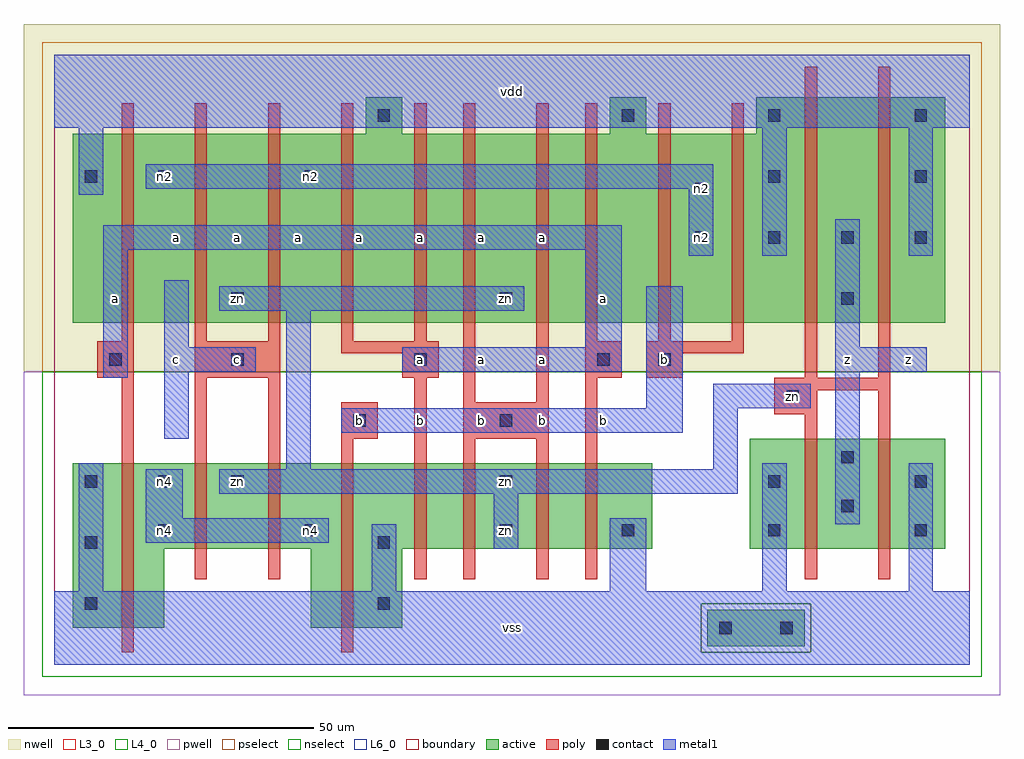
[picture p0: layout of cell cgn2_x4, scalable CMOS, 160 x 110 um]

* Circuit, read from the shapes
.subckt cgn2_x4 a b c n2 n4 vdd vss z zn
M1 n4 a vss vss nfet w=27u l=2u
M2 zn c n4 vss nfet w=14u l=2u m=2
M3 vss b n4 vss nfet w=27u l=2u
M4 n1 a vss vss nfet w=14u l=2u
M5 zn b n1 vss nfet w=14u l=2u
M6 n3 b zn vss nfet w=14u l=2u
M7 vss a n3 vss nfet w=14u l=2u
M8 z zn vss vss nfet w=18u l=2u m=2
M9 n2 a vdd n5 pfet w=31u l=2u m=2
M10 zn c n2 n5 pfet w=31u l=2u m=2
M11 n6 a vdd n5 pfet w=31u l=2u
M12 zn b n6 n5 pfet w=31u l=2u
M13 n7 b zn n5 pfet w=31u l=2u
M14 vdd a n7 n5 pfet w=31u l=2u
M15 n2 b vdd n5 pfet w=31u l=2u m=2
M16 z zn vdd n5 pfet w=37u l=2u m=2
.ends

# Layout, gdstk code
import gdstk
lib = gdstk.Library(unit=1e-6, precision=1e-09)
def R(c, l, rs):  # rectangles x0, y0, x1, y1
    for r in rs: c.add(gdstk.rectangle(r[:2], r[2:], *l))
def A(c, l, x, y, w, h, nx, ny, dx, dy):  # array of equal rectangles
    R(c, l, [(x+i*dx, y+j*dy, x+i*dx+w, y+j*dy+h) for i in range(nx) for j in range(ny)])
L3_0 = (3, 0)
L4_0 = (4, 0)
L6_0 = (6, 0)
contact = (25, 0)
pwell = (41, 0)
nwell = (42, 0)
active = (43, 0)
pselect = (44, 0)
nselect = (45, 0)
poly = (46, 0)
metal1 = (49, 0)
boundary = (63, 0)

cgn2_x4 = lib.new_cell('cgn2_x4')
R(cgn2_x4, L3_0, [(3,6,18,19), (42,6,57,19), (3,19,98,33), (114,19,146,37)])
R(cgn2_x4, L4_0, [(3,56,146,87), (51,87,57,93), (91,87,97,93), (115,87,146,93)])
R(cgn2_x4, L6_0, [(107,3,123,9)])
A(cgn2_x4, contact, 93, 21, 2, 2, 3, 2, 24, 68)
A(cgn2_x4, contact, 5, 29, 2, 2, 3, 1, 12, 0)
A(cgn2_x4, contact, 29, 49, 2, 2, 3, 1, 30, 0)
A(cgn2_x4, contact, 105, 69, 2, 2, 4, 1, 12, 0)
R(cgn2_x4, contact, [(109,5,111,7), (119,5,121,7), (5,9,7,11), (53,9,55,11), (5,19,7,21), (53,19,55,21), (17,21,19,23), (41,21,43,23), (73,21,75,23), (129,25,131,27), (73,29,75,31), (117,29,119,31), (141,29,143,31), (129,33,131,35), (49,39,51,41), (73,39,75,41), (120,43,122,45), (9,49,11,51), (99,49,101,51), (29,59,31,61), (73,59,75,61), (129,59,131,61), (105,77,107,79), (5,79,7,81), (17,79,19,81), (41,79,43,81), (117,79,119,81), (141,79,143,81), (53,89,55,91)])
R(cgn2_x4, pwell, [(-5,-5,155,48)])
R(cgn2_x4, nwell, [(-5,48,155,105)])
R(cgn2_x4, active, [(107,3,123,9), (3,6,18,19), (42,6,57,19), (3,19,98,33), (114,19,146,37), (3,56,146,87), (51,87,57,93), (91,87,97,93), (115,87,146,93)])
R(cgn2_x4, pselect, [(106,2,124,10), (-2,48,152,102)])
R(cgn2_x4, nselect, [(-2,-2,152,2), (-2,2,106,10), (124,2,152,10), (-2,10,152,48)])
A(cgn2_x4, poly, 11, 53, 2, 39, 5, 1, 12, 0)
A(cgn2_x4, poly, 87, 53, 2, 39, 3, 1, 12, 0)
R(cgn2_x4, poly, [(11,2,13,47), (47,2,49,37), (23,14,25,47), (35,14,37,47), (59,14,61,47), (67,14,69,37), (79,14,81,37), (87,14,89,47), (123,14,125,41), (135,14,137,45), (47,37,53,43), (67,37,81,43), (118,41,125,45), (67,43,69,92), (79,43,81,92), (118,45,137,47), (7,47,13,53), (23,47,37,53), (57,47,63,51), (87,47,93,53), (97,47,103,51), (123,47,125,98), (135,47,137,98), (47,51,63,53), (97,51,113,53)])
R(cgn2_x4, metal1, [(0,0,150,12), (4,12,8,33), (52,12,56,23), (91,12,97,24), (116,12,120,33), (140,12,144,33), (72,19,76,28), (15,20,45,24), (128,23,132,48), (15,24,21,32), (27,28,112,32), (38,32,42,58), (108,32,112,42), (18,37,22,48), (47,38,103,42), (97,42,103,62), (108,42,124,46), (8,47,12,68), (18,48,33,52), (57,48,93,52), (128,48,143,52), (18,52,22,63), (87,52,93,68), (128,52,132,73), (27,58,77,62), (104,67,108,78), (116,67,120,88), (140,67,144,88), (8,68,93,72), (4,77,8,88), (15,78,108,82), (0,88,150,100)])
R(cgn2_x4, boundary, [(0,0,150,100)])
cgn2_x4.add(gdstk.Label('n4', (18,22), layer=49, texttype=0))
cgn2_x4.add(gdstk.Label('n4', (18,30), layer=49, texttype=0))
cgn2_x4.add(gdstk.Label('zn', (30,30), layer=49, texttype=0))
cgn2_x4.add(gdstk.Label('zn', (30,60), layer=49, texttype=0))
cgn2_x4.add(gdstk.Label('n2', (18,80), layer=49, texttype=0))
cgn2_x4.add(gdstk.Label('n4', (42,22), layer=49, texttype=0))
cgn2_x4.add(gdstk.Label('n2', (42,80), layer=49, texttype=0))
cgn2_x4.add(gdstk.Label('zn', (74,22), layer=49, texttype=0))
cgn2_x4.add(gdstk.Label('zn', (74,30), layer=49, texttype=0))
cgn2_x4.add(gdstk.Label('zn', (74,60), layer=49, texttype=0))
cgn2_x4.add(gdstk.Label('n2', (106,70), layer=49, texttype=0))
cgn2_x4.add(gdstk.Label('n2', (106,78), layer=49, texttype=0))
cgn2_x4.add(gdstk.Label('zn', (121,44), layer=49, texttype=0))
cgn2_x4.add(gdstk.Label('c', (20,50), layer=49, texttype=0))
cgn2_x4.add(gdstk.Label('a', (10,60), layer=49, texttype=0))
cgn2_x4.add(gdstk.Label('a', (20,70), layer=49, texttype=0))
cgn2_x4.add(gdstk.Label('b', (50,40), layer=49, texttype=0))
cgn2_x4.add(gdstk.Label('c', (30,50), layer=49, texttype=0))
cgn2_x4.add(gdstk.Label('a', (30,70), layer=49, texttype=0))
cgn2_x4.add(gdstk.Label('a', (40,70), layer=49, texttype=0))
cgn2_x4.add(gdstk.Label('a', (50,70), layer=49, texttype=0))
cgn2_x4.add(gdstk.Label('vss', (75,6), layer=49, texttype=0))
cgn2_x4.add(gdstk.Label('b', (70,40), layer=49, texttype=0))
cgn2_x4.add(gdstk.Label('b', (80,40), layer=49, texttype=0))
cgn2_x4.add(gdstk.Label('b', (60,40), layer=49, texttype=0))
cgn2_x4.add(gdstk.Label('a', (60,50), layer=49, texttype=0))
cgn2_x4.add(gdstk.Label('a', (70,50), layer=49, texttype=0))
cgn2_x4.add(gdstk.Label('a', (80,50), layer=49, texttype=0))
cgn2_x4.add(gdstk.Label('a', (60,70), layer=49, texttype=0))
cgn2_x4.add(gdstk.Label('a', (70,70), layer=49, texttype=0))
cgn2_x4.add(gdstk.Label('a', (80,70), layer=49, texttype=0))
cgn2_x4.add(gdstk.Label('vdd', (75,94), layer=49, texttype=0))
cgn2_x4.add(gdstk.Label('b', (90,40), layer=49, texttype=0))
cgn2_x4.add(gdstk.Label('b', (100,50), layer=49, texttype=0))
cgn2_x4.add(gdstk.Label('a', (90,60), layer=49, texttype=0))
cgn2_x4.add(gdstk.Label('z', (130,50), layer=49, texttype=0))
cgn2_x4.add(gdstk.Label('z', (140,50), layer=49, texttype=0))

lib.write_gds('cgn2_x4.gds')
